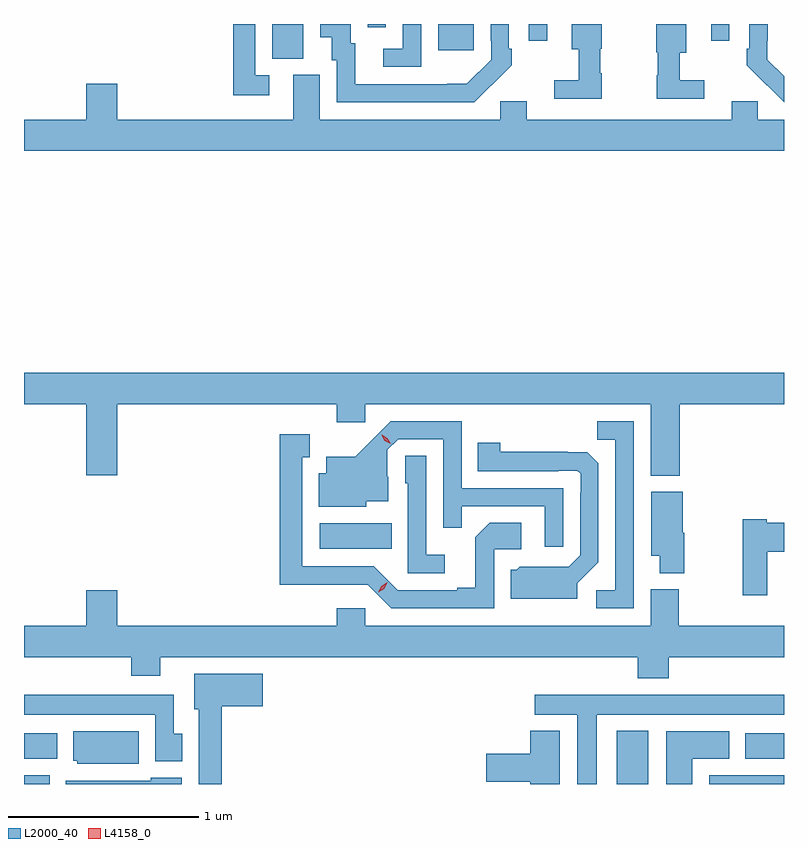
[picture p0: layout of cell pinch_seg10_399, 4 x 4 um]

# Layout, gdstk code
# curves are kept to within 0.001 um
import gdstk
lib = gdstk.Library(unit=1e-6, precision=1e-09)
def R(c, l, rs):  # rectangles x0, y0, x1, y1
    for r in rs: c.add(gdstk.rectangle(r[:2], r[2:], *l))
def P(c, l, *ps):  # polygons
    for p in ps: c.add(gdstk.Polygon(p, *l))
L2000_40 = (2000, 40)
L4158_0 = (4158, 0)

pinch_seg10_399 = lib.new_cell('pinch_seg10_399')
R(pinch_seg10_399, L2000_40, [(392.452,1295.652,392.587,1295.698), (395.573,1295.652,395.737,1295.932), (396.059,1295.652,396.452,1295.698), (392.452,1295.786,392.626,1295.92), (396.248,1295.786,396.452,1295.92), (394.008,1296.89,394.388,1297.024), (393.758,1299.469,393.922,1299.652), (394.631,1299.513,394.819,1299.652), (395.109,1299.564,395.205,1299.652), (396.069,1299.564,396.165,1299.652), (394.26,1299.636,394.356,1299.652)])
P(pinch_seg10_399, L2000_40, [(396.452,1299.377),(396.363,1299.465),(396.363,1299.565),(396.366,1299.565),(396.366,1299.652),(396.27,1299.652),(396.27,1299.523),(396.255,1299.523),(396.255,1299.435),(396.36,1299.33),(396.361,1299.331),(396.452,1299.24)],
  [(394.913,1299.331),(394.914,1299.33),(395.019,1299.435),(395.019,1299.523),(395.004,1299.523),(395.004,1299.652),(394.908,1299.652),(394.908,1299.565),(394.911,1299.565),(394.911,1299.465),(394.783,1299.337),(394.679,1299.336),(394.195,1299.336),(394.195,1299.552),(394.171,1299.552),(394.171,1299.652),(394.01,1299.652),(394.01,1299.581),(394.073,1299.581),(394.073,1299.462),(394.098,1299.462),(394.098,1299.24),(394.822,1299.24)],
  [(394.542,1299.652),(394.446,1299.652),(394.446,1299.522),(394.344,1299.522),(394.344,1299.426),(394.542,1299.426)],
  [(393.742,1299.381),(393.669,1299.381),(393.669,1299.652),(393.553,1299.652),(393.553,1299.276),(393.742,1299.276)],
  [(396.031,1299.355),(395.902,1299.355),(395.902,1299.5),(395.938,1299.5),(395.938,1299.652),(395.78,1299.652),(395.78,1299.504),(395.788,1299.504),(395.788,1299.383),(395.781,1299.383),(395.781,1299.258),(396.031,1299.258)],
  [(395.494,1299.392),(395.486,1299.392),(395.486,1299.522),(395.494,1299.522),(395.494,1299.652),(395.336,1299.652),(395.336,1299.518),(395.373,1299.518),(395.373,1299.355),(395.244,1299.355),(395.244,1299.258),(395.494,1299.258)],
  [(396.452,1299.148),(396.315,1299.148),(396.315,1299.246),(396.176,1299.246),(396.176,1299.148),(395.098,1299.148),(395.098,1299.246),(394.959,1299.246),(394.959,1299.148),(394.009,1299.148),(394.009,1299.384),(393.869,1299.384),(393.869,1299.148),(392.944,1299.148),(392.944,1299.337),(392.78,1299.337),(392.78,1299.148),(392.452,1299.148),(392.452,1298.984),(396.452,1298.984)],
  [(395.903,1297.652),(396.452,1297.652),(396.452,1297.816),(392.452,1297.816),(392.452,1297.652),(392.78,1297.652),(392.78,1297.278),(392.944,1297.278),(392.944,1297.652),(394.097,1297.652),(394.097,1297.557),(394.248,1297.557),(394.248,1297.652),(395.75,1297.652),(395.75,1297.274),(395.903,1297.274)],
  [(395.289,1297.209),(394.755,1297.209),(394.755,1297.56),(394.382,1297.56),(394.195,1297.375),(394.043,1297.375),(394.043,1297.288),(394.004,1297.288),(394.004,1297.112),(394.254,1297.112),(394.254,1297.139),(394.369,1297.139),(394.369,1297.268),(394.365,1297.268),(394.365,1297.41),(394.422,1297.467),(394.659,1297.467),(394.659,1297),(394.757,1297),(394.757,1297.113),(395.193,1297.113),(395.193,1296.9),(395.289,1296.9)],
  [(395.661,1297.56),(395.47,1297.56),(395.47,1297.465),(395.565,1297.465),(395.565,1296.672),(395.463,1296.672),(395.463,1296.576),(395.661,1296.576)],
  [(394.926,1296.888),(395.068,1296.888),(395.068,1297.028),(394.903,1297.028),(394.827,1296.952),(394.827,1296.685),(394.733,1296.685),(394.733,1296.672),(394.419,1296.672),(394.293,1296.798),(393.916,1296.798),(393.916,1297.371),(393.955,1297.371),(393.955,1297.492),(393.798,1297.492),(393.798,1296.701),(394.26,1296.702),(394.386,1296.576),(394.926,1296.576)],
  [(395.365,1296.708),(395.475,1296.818),(395.475,1297.34),(395.416,1297.399),(394.959,1297.4),(394.959,1297.447),(394.84,1297.447),(394.84,1297.299),(395.264,1297.299),(395.264,1297.302),(395.364,1297.302),(395.382,1297.284),(395.382,1297.184),(395.379,1297.184),(395.379,1296.855),(395.319,1296.795),(395.062,1296.796),(395.046,1296.78),(395.015,1296.78),(395.015,1296.626),(395.365,1296.626)],
  [(394.666,1296.859),(394.569,1296.859),(394.569,1297.379),(394.458,1297.379),(394.458,1297.236),(394.473,1297.236),(394.473,1296.762),(394.666,1296.762)],
  [(395.928,1296.975),(395.92,1296.975),(395.92,1297.189),(395.753,1297.189),(395.753,1296.854),(395.798,1296.854),(395.798,1296.761),(395.928,1296.761)],
  [(396.364,1296.875),(396.452,1296.875),(396.452,1297.028),(396.36,1297.028),(396.36,1297.046),(396.235,1297.046),(396.235,1296.645),(396.364,1296.645)],
  [(395.846,1296.32),(396.452,1296.32),(396.452,1296.484),(395.898,1296.484),(395.898,1296.676),(395.75,1296.676),(395.75,1296.484),(394.248,1296.484),(394.248,1296.577),(394.097,1296.577),(394.097,1296.484),(392.944,1296.484),(392.944,1296.673),(392.78,1296.673),(392.78,1296.484),(392.452,1296.484),(392.452,1296.32),(393.017,1296.32),(393.017,1296.221),(393.169,1296.221),(393.169,1296.32),(395.681,1296.32),(395.681,1296.209),(395.846,1296.209)],
  [(393.494,1296.062),(393.709,1296.062),(393.709,1296.232),(393.347,1296.232),(393.347,1296.045),(393.371,1296.045),(393.371,1295.652),(393.494,1295.652)],
  [(393.286,1295.916),(393.241,1295.916),(393.241,1296.121),(392.452,1296.121),(392.452,1296.017),(393.144,1296.017),(393.144,1295.772),(393.286,1295.772)],
  [(395.467,1296.017),(396.452,1296.017),(396.452,1296.121),(395.139,1296.121),(395.139,1296.017),(395.363,1296.017),(395.363,1295.652),(395.467,1295.652)],
  [(395.272,1295.932),(395.117,1295.932),(395.117,1295.81),(394.884,1295.81),(394.884,1295.663),(395.117,1295.663),(395.117,1295.652),(395.272,1295.652)],
  [(393.055,1295.929),(392.711,1295.929),(392.711,1295.775),(392.733,1295.775),(392.733,1295.759),(393.055,1295.759)],
  [(395.968,1295.786),(396.163,1295.786),(396.163,1295.929),(395.831,1295.929),(395.831,1295.652),(395.968,1295.652)],
  [(393.283,1295.686),(393.12,1295.686),(393.12,1295.668),(392.672,1295.668),(392.672,1295.652),(393.283,1295.652)])
P(pinch_seg10_399, L4158_0, [(394.382,1297.444),(394.351,1297.459),(394.334,1297.488),(394.334,1297.489),(394.334,1297.489),(394.365,1297.473),(394.382,1297.444),(394.382,1297.444)],
  [(394.316,1296.661),(394.316,1296.661),(394.333,1296.694),(394.364,1296.713),(394.364,1296.713),(394.364,1296.713),(394.347,1296.68),(394.316,1296.661)])

lib.write_gds('pinch_seg10_399.gds')
